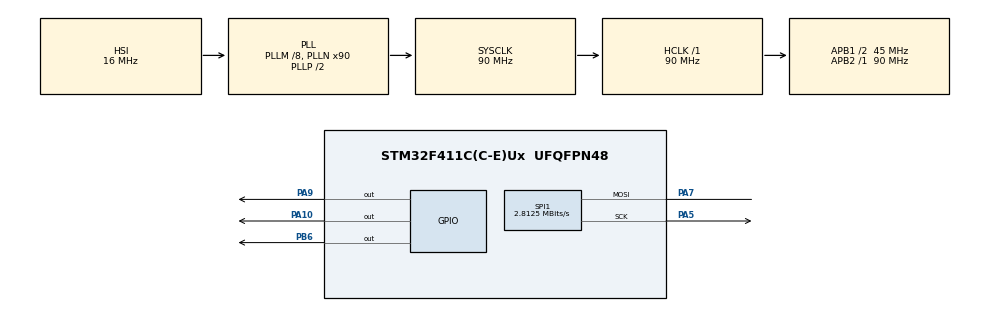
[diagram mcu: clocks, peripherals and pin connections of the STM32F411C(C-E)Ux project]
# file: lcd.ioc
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Mcu.Family=STM32F4
Mcu.Name=STM32F411C(C-E)Ux
Mcu.Package=UFQFPN48
NVIC.PriorityGroup=NVIC_PRIORITYGROUP_4
PA10.Signal=GPIO_Output
PA5.Mode=Simplex_Bidirectional_Master
PA5.Signal=SPI1_SCK
PA7.Mode=Simplex_Bidirectional_Master
PA7.Signal=SPI1_MOSI
PA9.Signal=GPIO_Output
PB6.Signal=GPIO_Output
ProjectManager.HeapSize=0x200
ProjectManager.StackSize=0x400
ProjectManager.TargetToolchain=STM32CubeIDE
RCC.48MHZClocksFreq_Value=45000000
RCC.AHBFreq_Value=90000000
RCC.APB1CLKDivider=RCC_HCLK_DIV2
RCC.APB1Freq_Value=45000000
RCC.APB1TimFreq_Value=90000000
RCC.APB2Freq_Value=90000000
RCC.APB2TimFreq_Value=90000000
RCC.CortexFreq_Value=90000000
RCC.HCLKFreq_Value=90000000
RCC.HSE_VALUE=25000000
RCC.HSI_VALUE=16000000
RCC.LSE_VALUE=32768
RCC.PLLM=8
RCC.PLLN=90
RCC.SYSCLKFreq_VALUE=90000000
RCC.SYSCLKSource=RCC_SYSCLKSOURCE_PLLCLK
RCC.VCOOutputFreq_Value=180000000
SPI1.BaudRatePrescaler=SPI_BAUDRATEPRESCALER_32
SPI1.CalculateBaudRate=2.8125 MBits/s
SPI1.Direction=SPI_DIRECTION_1LINE
SPI1.Mode=SPI_MODE_MASTER
SPI1.VirtualType=VM_MASTER
board=custom

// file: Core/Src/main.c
/* USER CODE BEGIN Header */
/**
  ******************************************************************************
  * @file           : main.c
  * @brief          : Main program body
  ******************************************************************************
  */
/* USER CODE END Header */
#include "main.h"

/* USER CODE BEGIN Includes */
#include "ST7735.h"
#include "GFX_FUNCTIONS.h"
/* USER CODE END Includes */

/* USER CODE BEGIN PTD */
extern FontDef Font_7x10; // Standard font usually included in the library
/* USER CODE END PTD */

/* USER CODE BEGIN PD */
#define DISP_WIDTH 160
#define DISP_HEIGHT 128
#define NUM_KEYS 8
#define KEY_WIDTH  (DISP_WIDTH / NUM_KEYS)
#define KEY_HEIGHT 70  // Shorter keys so boxes have room to fall
#define KEYS_Y     (DISP_HEIGHT - KEY_HEIGHT) // Keys start at y=88
#define WHITE_KEY_COLOR WHITE
#define BLACK_KEY_COLOR BLACK
#define GREY_TEXT color565(128, 128, 128)
/* USER CODE END PD */

SPI_HandleTypeDef hspi1;

/* USER CODE BEGIN PV */
// Song: Mary Had a Little Lamb (E, D, C, D, E, E, E)
// Mapped to white keys: C=0, D=1, E=2, F=3, G=4, A=5, B=6, C'=7
uint8_t demo_song[] = {2, 1, 0, 1, 2, 2, 2};
int current_note_idx = 0;
int falling_box_y = 0;
/* USER CODE END PV */

void SystemClock_Config(void);
static void MX_GPIO_Init(void);
static void MX_SPI1_Init(void);

/* USER CODE BEGIN 0 */

void DrawPianoKeys(void) {
    // 1. Draw 8 White Keys at the bottom
    for(int i = 0; i < NUM_KEYS; i++) {
        int x = i * KEY_WIDTH;
        fillRect(x, KEYS_Y, KEY_WIDTH - 1, KEY_HEIGHT, WHITE_KEY_COLOR);

        // Label the keys in grey
        char* notes[] = {"C", "D", "E", "F", "G", "A", "B", "C"};
        // Note: If Font_7x10 causes an error, your font might be named differently.
        ST7735_WriteString(x + 5, KEYS_Y + 20, notes[i], Font_7x10, GREY_TEXT, WHITE_KEY_COLOR);
    }

    // 2. Draw the Black Keys on top
    for(int i = 0; i < NUM_KEYS - 1; i++) {
        if(i == 2 || i == 6) continue;

        int black_x = (i * KEY_WIDTH) + 15;
        int black_width = 10;
        int black_height = KEY_HEIGHT * 2 / 3;

        fillRect(black_x, KEYS_Y, black_width, black_height, BLACK_KEY_COLOR);
    }
}

void LightUpKey(uint8_t keyIndex, uint16_t color) {
    if(keyIndex >= NUM_KEYS) return;

    int x = keyIndex * KEY_WIDTH;
    fillRect(x, KEYS_Y, KEY_WIDTH - 1, KEY_HEIGHT, color);

    for(int i = 0; i < NUM_KEYS - 1; i++) {
        if(i == 2 || i == 6) continue;
        int black_x = (i * KEY_WIDTH) + 15;
        int black_width = 10;
        int black_height = KEY_HEIGHT * 2 / 3;
        fillRect(black_x, KEYS_Y, black_width, black_height, BLACK_KEY_COLOR);
    }
}

// Function to handle the game animation loop
void UpdateFallingNotes(void) {
    uint8_t target_key = demo_song[current_note_idx];
    int box_x = (target_key * KEY_WIDTH) + 2;
    int box_w = KEY_WIDTH - 5;
    int box_h = 10;
    int drop_speed = 5;

    // Erase the old box position
    fillRect(box_x, falling_box_y, box_w, box_h, BLACK);

    // Move box down
    falling_box_y += drop_speed;

    // Check if it hit the keys
    if (falling_box_y >= KEYS_Y - box_h) {
        // Hit! Light up the target key
        LightUpKey(target_key, GREEN);
        HAL_Delay(250); // Hold the lit key

        // Redraw keys normally
        DrawPianoKeys();

        // Reset box to top and move to next note
        falling_box_y = 0;
        current_note_idx++;

        if (current_note_idx >= sizeof(demo_song)) {
            current_note_idx = 0; // Loop the song
        }

        HAL_Delay(300); // Pause before next note falls
    } else {
        // Draw the new box position
        fillRect(box_x, falling_box_y, box_w, box_h, color565(0, 255, 255)); // Cyan box
        HAL_Delay(30); // Control the framerate of the fall
    }
}
/* USER CODE END 0 */

int main(void)
{
  /* MCU Configuration--------------------------------------------------------*/
  HAL_Init();
  SystemClock_Config();
  MX_GPIO_Init();
  MX_SPI1_Init();

  /* USER CODE BEGIN 2 */
  ST7735_Init(1);
  fillScreen(BLACK);
  DrawPianoKeys();
  /* USER CODE END 2 */

  /* Infinite loop */
  /* USER CODE BEGIN WHILE */
  while (1)
  {
    UpdateFallingNotes();
    /* USER CODE END WHILE */
  }
}

void SystemClock_Config(void)
{
  RCC_OscInitTypeDef RCC_OscInitStruct = {0};
  RCC_ClkInitTypeDef RCC_ClkInitStruct = {0};

  __HAL_RCC_PWR_CLK_ENABLE();
  __HAL_PWR_VOLTAGESCALING_CONFIG(PWR_REGULATOR_VOLTAGE_SCALE1);

  RCC_OscInitStruct.OscillatorType = RCC_OSCILLATORTYPE_HSI;
  RCC_OscInitStruct.HSIState = RCC_HSI_ON;
  RCC_OscInitStruct.HSICalibrationValue = RCC_HSICALIBRATION_DEFAULT;
  RCC_OscInitStruct.PLL.PLLState = RCC_PLL_ON;
  RCC_OscInitStruct.PLL.PLLSource = RCC_PLLSOURCE_HSI;
  RCC_OscInitStruct.PLL.PLLM = 8;
  RCC_OscInitStruct.PLL.PLLN = 90;
  RCC_OscInitStruct.PLL.PLLP = RCC_PLLP_DIV2;
  RCC_OscInitStruct.PLL.PLLQ = 4;
  if (HAL_RCC_OscConfig(&RCC_OscInitStruct) != HAL_OK)
  {
    Error_Handler();
  }

  RCC_ClkInitStruct.ClockType = RCC_CLOCKTYPE_HCLK|RCC_CLOCKTYPE_SYSCLK
                              |RCC_CLOCKTYPE_PCLK1|RCC_CLOCKTYPE_PCLK2;
  RCC_ClkInitStruct.SYSCLKSource = RCC_SYSCLKSOURCE_PLLCLK;
  RCC_ClkInitStruct.AHBCLKDivider = RCC_SYSCLK_DIV1;
  RCC_ClkInitStruct.APB1CLKDivider = RCC_HCLK_DIV2;
  RCC_ClkInitStruct.APB2CLKDivider = RCC_HCLK_DIV1;

  if (HAL_RCC_ClockConfig(&RCC_ClkInitStruct, FLASH_LATENCY_2) != HAL_OK)
  {
    Error_Handler();
  }
}

static void MX_SPI1_Init(void)
{
  hspi1.Instance = SPI1;
  hspi1.Init.Mode = SPI_MODE_MASTER;
  hspi1.Init.Direction = SPI_DIRECTION_1LINE;
  hspi1.Init.DataSize = SPI_DATASIZE_8BIT;
  hspi1.Init.CLKPolarity = SPI_POLARITY_LOW;
  hspi1.Init.CLKPhase = SPI_PHASE_1EDGE;
  hspi1.Init.NSS = SPI_NSS_SOFT;
  hspi1.Init.BaudRatePrescaler = SPI_BAUDRATEPRESCALER_32;
  hspi1.Init.FirstBit = SPI_FIRSTBIT_MSB;
  hspi1.Init.TIMode = SPI_TIMODE_DISABLE;
  hspi1.Init.CRCCalculation = SPI_CRCCALCULATION_DISABLE;
  hspi1.Init.CRCPolynomial = 10;
  if (HAL_SPI_Init(&hspi1) != HAL_OK)
  {
    Error_Handler();
  }
}

static void MX_GPIO_Init(void)
{
  GPIO_InitTypeDef GPIO_InitStruct = {0};

  __HAL_RCC_GPIOA_CLK_ENABLE();
  __HAL_RCC_GPIOB_CLK_ENABLE();

  HAL_GPIO_WritePin(GPIOA, GPIO_PIN_9|GPIO_PIN_10, GPIO_PIN_RESET);
  HAL_GPIO_WritePin(GPIOB, GPIO_PIN_6, GPIO_PIN_RESET);

  GPIO_InitStruct.Pin = GPIO_PIN_9|GPIO_PIN_10;
  GPIO_InitStruct.Mode = GPIO_MODE_OUTPUT_PP;
  GPIO_InitStruct.Pull = GPIO_NOPULL;
  GPIO_InitStruct.Speed = GPIO_SPEED_FREQ_LOW;
  HAL_GPIO_Init(GPIOA, &GPIO_InitStruct);

  GPIO_InitStruct.Pin = GPIO_PIN_6;
  GPIO_InitStruct.Mode = GPIO_MODE_OUTPUT_PP;
  GPIO_InitStruct.Pull = GPIO_NOPULL;
  GPIO_InitStruct.Speed = GPIO_SPEED_FREQ_LOW;
  HAL_GPIO_Init(GPIOB, &GPIO_InitStruct);
}

void Error_Handler(void)
{
  __disable_irq();
  while (1)
  {
  }
}
